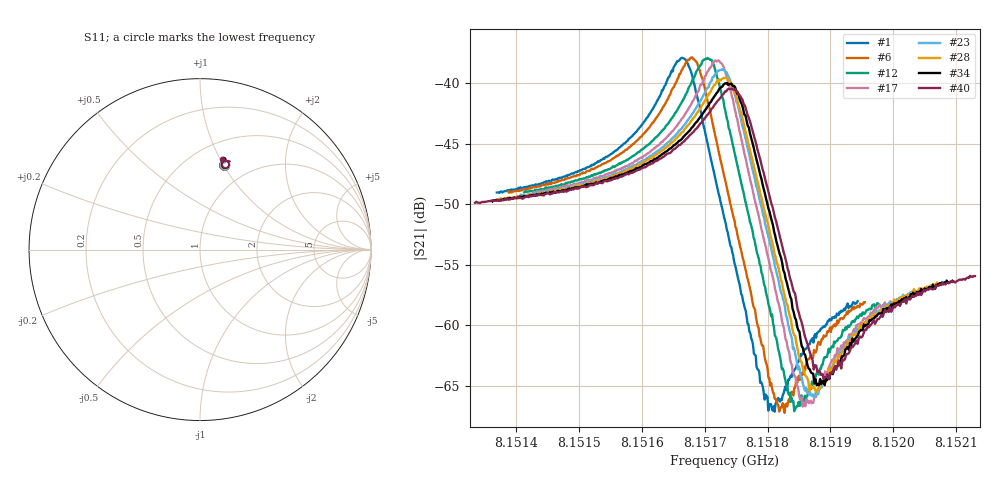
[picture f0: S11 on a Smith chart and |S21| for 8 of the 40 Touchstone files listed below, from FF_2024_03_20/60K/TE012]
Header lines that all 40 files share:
#  HZ  S  RI  R  50.00
! Rohde & Schwarz Vector Network Analyzer
! Rohde-Schwarz,ZNB20-2Port,1311601062101988,3.16
! freq[Hz]  re:S11  im:S11  re:S21  im:S21  re:S12  im:S12  re:S22  im:S22
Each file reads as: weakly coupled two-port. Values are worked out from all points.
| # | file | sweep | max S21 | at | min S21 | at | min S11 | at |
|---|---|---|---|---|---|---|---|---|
| 1 | 0_2_58.0_58.8300095_0.572_1.801905632019043_.s2p | 8.1513693 GHz to 8.1519433 GHz | -37.90 dB | 8.1516635 GHz | -67.1 dB | 8.1518113 GHz | -6.3 dB | 8.1516707 GHz |
| 2 | 1_2_57.9997_58.8307381_0.572_4.211222410202026_.s2p | 8.1513755 GHz to 8.1519417 GHz | -37.84 dB | 8.1516657 GHz | -67.0 dB | 8.1518044 GHz | -6.3 dB | 8.1516727 GHz |
| 3 | 2_2_58.0003_58.8323708_0.572_8.04418396949768_.s2p | 8.1513786 GHz to 8.1519448 GHz | -37.89 dB | 8.1516702 GHz | -67.0 dB | 8.1518132 GHz | -6.3 dB | 8.1516759 GHz |
| 4 | 3_2_57.9996_58.834549_0.812_10.46454644203186_.s2p | 8.1513785 GHz to 8.151955 GHz | -37.86 dB | 8.1516725 GHz | -67.2 dB | 8.1518166 GHz | -6.3 dB | 8.1516797 GHz |
| 5 | 4_2_58.0003_58.8337288_0.797_12.873636722564697_.s2p | 8.1513829 GHz to 8.1519544 GHz | -37.88 dB | 8.1516787 GHz | -67.3 dB | 8.1518201 GHz | -6.3 dB | 8.1516829 GHz |
| 6 | 5_2_57.9997_58.8387871_0.827_15.308377504348755_.s2p | 8.1513872 GHz to 8.1519547 GHz | -37.85 dB | 8.1516795 GHz | -67.2 dB | 8.1518271 GHz | -6.3 dB | 8.1516852 GHz |
| 7 | 6_2_58.0003_58.8386993_0.812_17.769882678985596_.s2p | 8.1513919 GHz to 8.1519557 GHz | -37.87 dB | 8.1516823 GHz | -67.4 dB | 8.1518232 GHz | -6.3 dB | 8.1516879 GHz |
| 8 | 7_2_57.9998_58.8414154_0.827_25.77992820739746_.s2p | 8.1513966 GHz to 8.1519697 GHz | -37.88 dB | 8.1516932 GHz | -67.0 dB | 8.1518379 GHz | -6.3 dB | 8.151696 GHz |
| 9 | 8_2_58.0003_58.8427696_0.752_28.3460795879364_.s2p | 8.1514012 GHz to 8.1519688 GHz | -37.84 dB | 8.1516949 GHz | -67.0 dB | 8.1518354 GHz | -6.3 dB | 8.1516991 GHz |
| 10 | 9_2_58.0_58.8444977_121.19_30.771546125411987_.s2p | 8.1514047 GHz to 8.1519715 GHz | -37.86 dB | 8.1516966 GHz | -67.1 dB | 8.1518397 GHz | -6.3 dB | 8.1517022 GHz |
| 11 | 10_2_58.0001_58.8455849_373.806_33.19875717163086_.s2p | 8.1514063 GHz to 8.1519752 GHz | -37.86 dB | 8.1517021 GHz | -67.2 dB | 8.1518401 GHz | -6.3 dB | 8.1517064 GHz |
| 12 | 11_2_58.0002_58.8479385_591.982_35.59725093841553_.s2p | 8.1514128 GHz to 8.1519764 GHz | -37.90 dB | 8.1517045 GHz | -67.1 dB | 8.1518425 GHz | -6.3 dB | 8.1517101 GHz |
| 13 | 12_2_58.0004_58.8472137_839.485_38.006516218185425_.s2p | 8.1514146 GHz to 8.1519825 GHz | -37.85 dB | 8.1517071 GHz | -67.1 dB | 8.1518462 GHz | -6.3 dB | 8.1517142 GHz |
| 14 | 13_2_58.0006_58.8488426_1087.353_40.49764108657837_.s2p | 8.15142 GHz to 8.1519858 GHz | -37.90 dB | 8.15171 GHz | -67.1 dB | 8.1518543 GHz | -6.3 dB | 8.1517185 GHz |
| 15 | 14_2_58.0001_58.8495674_1306.613_42.88921499252319_.s2p | 8.1514256 GHz to 8.1519883 GHz | -37.90 dB | 8.1517154 GHz | -67.0 dB | 8.1518532 GHz | -6.3 dB | 8.151721 GHz |
| 16 | 15_2_58.0007_58.8508339_1564.785_45.30901217460632_.s2p | 8.1514287 GHz to 8.1519908 GHz | -37.99 dB | 8.1517168 GHz | -66.8 dB | 8.1518573 GHz | -6.3 dB | 8.1517238 GHz |
| 17 | 16_2_57.9999_58.8514748_1799.629_47.70834279060364_.s2p | 8.1514272 GHz to 8.1519968 GHz | -38.10 dB | 8.151722 GHz | -66.7 dB | 8.1518559 GHz | -6.3 dB | 8.1517263 GHz |
| 18 | 17_2_57.9999_58.8520164_2037.878_50.143150329589844_.s2p | 8.1514216 GHz to 8.1520068 GHz | -38.21 dB | 8.1517215 GHz | -66.9 dB | 8.1518635 GHz | -6.2 dB | 8.1517274 GHz |
| 19 | 18_2_58.0007_58.8544617_2277.705_52.55321669578552_.s2p | 8.1514183 GHz to 8.1520138 GHz | -38.27 dB | 8.1517235 GHz | -66.8 dB | 8.1518619 GHz | -6.2 dB | 8.1517294 GHz |
| 20 | 19_2_58.0001_58.8559074_2536.695_54.9967942237854_.s2p | 8.1514204 GHz to 8.1520143 GHz | -38.40 dB | 8.1517248 GHz | -66.5 dB | 8.1518614 GHz | -6.2 dB | 8.1517307 GHz |
| 21 | 20_2_58.0005_58.8566322_2746.081_57.40939688682556_.s2p | 8.1514155 GHz to 8.1520215 GHz | -38.57 dB | 8.1517276 GHz | -66.5 dB | 8.1518716 GHz | -6.2 dB | 8.1517337 GHz |
| 22 | 21_2_58.0001_58.8567238_2945.247_59.915308237075806_.s2p | 8.1514087 GHz to 8.15203 GHz | -38.68 dB | 8.1517287 GHz | -66.4 dB | 8.15187 GHz | -6.2 dB | 8.1517333 GHz |
| 23 | 22_2_58.0003_58.8568192_3244.096_62.3225257396698_.s2p | 8.1514045 GHz to 8.1520363 GHz | -38.82 dB | 8.1517283 GHz | -65.9 dB | 8.1518752 GHz | -6.2 dB | 8.1517346 GHz |
| 24 | 23_2_57.9999_58.8578987_3481.6_64.7552433013916_.s2p | 8.1514004 GHz to 8.152041 GHz | -38.99 dB | 8.1517319 GHz | -65.8 dB | 8.1518697 GHz | -6.2 dB | 8.1517351 GHz |
| 25 | 24_2_57.9999_58.8594437_3719.098_67.16604733467102_.s2p | 8.1513927 GHz to 8.1520492 GHz | -39.15 dB | 8.1517275 GHz | -65.9 dB | 8.1518703 GHz | -6.1 dB | 8.1517357 GHz |
| 26 | 25_2_57.9996_58.8583527_3969.996_69.58865427970886_.s2p | 8.1513846 GHz to 8.1520582 GHz | -39.25 dB | 8.1517265 GHz | -66.0 dB | 8.151873 GHz | -6.1 dB | 8.1517366 GHz |
| 27 | 26_2_58.0004_58.861351_4220.321_72.01002526283264_.s2p | 8.1513864 GHz to 8.1520567 GHz | -39.43 dB | 8.1517249 GHz | -65.5 dB | 8.1518774 GHz | -6.1 dB | 8.1517383 GHz |
| 28 | 27_2_58.0002_58.8637962_4451.227_74.44492101669312_.s2p | 8.1513724 GHz to 8.1520712 GHz | -39.51 dB | 8.1517341 GHz | -65.5 dB | 8.1518773 GHz | -6.1 dB | 8.1517393 GHz |
| 29 | 28_2_58.0006_58.862587_4721.46_76.87718677520752_.s2p | 8.1513663 GHz to 8.152079 GHz | -39.53 dB | 8.1517298 GHz | -65.1 dB | 8.1518741 GHz | -6.1 dB | 8.1517405 GHz |
| 30 | 29_2_58.0_58.8670273_5522.39_84.93291783332825_.s2p | 8.1513722 GHz to 8.152074 GHz | -39.76 dB | 8.1517336 GHz | -65.3 dB | 8.151881 GHz | -6.1 dB | 8.1517424 GHz |
| 31 | 30_2_57.9996_58.8695641_5742.441_87.3678367137909_.s2p | 8.1513614 GHz to 8.1520896 GHz | -39.70 dB | 8.1517328 GHz | -65.3 dB | 8.1518821 GHz | -6.1 dB | 8.1517437 GHz |
| 32 | 31_2_58.0002_58.8704681_5982.851_89.79207515716553_.s2p | 8.1513674 GHz to 8.1520842 GHz | -39.84 dB | 8.1517347 GHz | -65.1 dB | 8.1518817 GHz | -6.1 dB | 8.1517437 GHz |
| 33 | 32_2_57.9999_58.8718262_6232.499_92.21188473701477_.s2p | 8.1513573 GHz to 8.1520961 GHz | -39.79 dB | 8.1517378 GHz | -65.2 dB | 8.1518782 GHz | -6.1 dB | 8.1517452 GHz |
| 34 | 33_2_58.0005_58.873188_6472.589_94.5993344783783_.s2p | 8.1513622 GHz to 8.1520942 GHz | -39.98 dB | 8.1517355 GHz | -64.9 dB | 8.1518819 GHz | -6.1 dB | 8.1517465 GHz |
| 35 | 34_2_58.0004_58.8724594_6723.541_97.02164673805237_.s2p | 8.1513474 GHz to 8.152109 GHz | -40.03 dB | 8.1517358 GHz | -65.0 dB | 8.15189 GHz | -6.1 dB | 8.1517472 GHz |
| 36 | 35_2_58.001_58.873455_6953.583_99.43298983573914_.s2p | 8.1513477 GHz to 8.1521102 GHz | -40.06 dB | 8.1517404 GHz | -64.9 dB | 8.1518891 GHz | -6.1 dB | 8.151748 GHz |
| 37 | 36_2_58.0_58.8754654_7203.847_101.8693630695343_.s2p | 8.1513487 GHz to 8.1521106 GHz | -40.17 dB | 8.1517373 GHz | -64.9 dB | 8.1518839 GHz | -6.0 dB | 8.1517506 GHz |
| 38 | 37_2_58.0001_58.876461_7453.635_104.29206800460815_.s2p | 8.1513402 GHz to 8.1521219 GHz | -40.22 dB | 8.1517389 GHz | -64.5 dB | 8.1518874 GHz | -6.0 dB | 8.1517506 GHz |
| 39 | 38_2_58.0001_58.876545_7684.037_106.72284245491028_.s2p | 8.1513379 GHz to 8.1521252 GHz | -40.27 dB | 8.1517453 GHz | -64.5 dB | 8.1518871 GHz | -6.0 dB | 8.1517532 GHz |
| 40 | 39_2_58.0002_58.8774567_7943.996_109.14307713508606_.s2p | 8.1513345 GHz to 8.1521302 GHz | -40.45 dB | 8.1517423 GHz | -64.4 dB | 8.1518975 GHz | -6.0 dB | 8.1517522 GHz |
